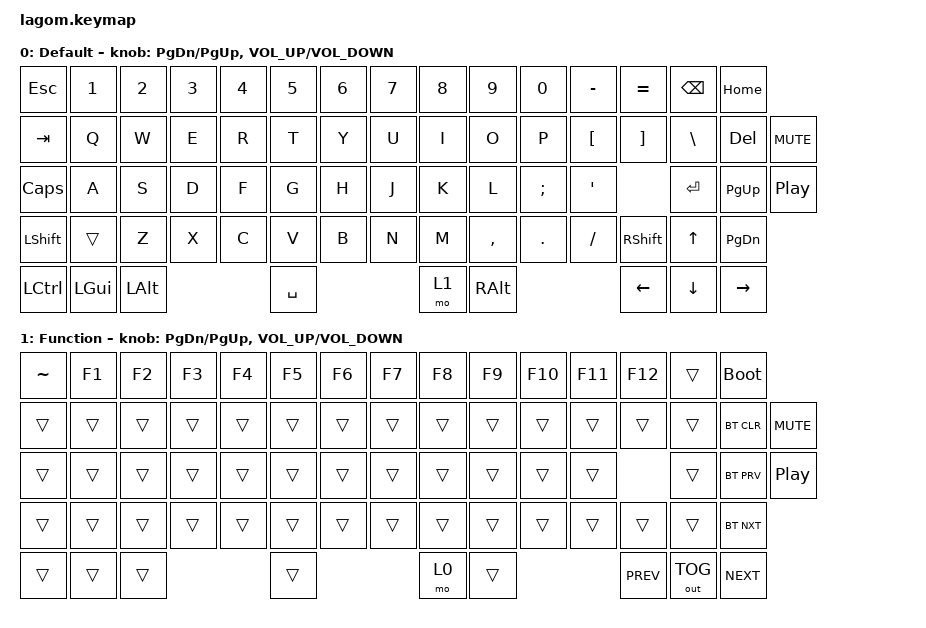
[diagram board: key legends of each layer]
/*
 * Copyright (c) 2020 The ZMK Contributors
 *
 * SPDX-License-Identifier: MIT
 */

#include <behaviors.dtsi>
#include <dt-bindings/zmk/keys.h>
#include <dt-bindings/zmk/bt.h>
#include <dt-bindings/zmk/outputs.h>
/ {
    sensors: sensors {
        compatible = "zmk,keymap-sensors";
        sensors = <&encoder_1 &encoder_2>;
        triggers-per-rotation = <20>;
    };

    keymap {
        compatible = "zmk,keymap";

        default_layer {
            display-name = "Default";

                sensor-bindings = <&inc_dec_kp PAGE_DOWN PAGE_UP &inc_dec_kp C_VOLUME_UP C_VOLUME_DOWN>;

            bindings = <
        &kp ESC   &kp N1    &kp N2    &kp N3    &kp N4    &kp N5    &kp N6    &kp N7    &kp N8  &kp N9    &kp N0    &kp MINUS &kp EQUAL &kp BSPC  &kp HOME
        &kp TAB   &kp Q     &kp W     &kp E     &kp R     &kp T     &kp Y     &kp U     &kp I   &kp O     &kp P     &kp LBKT  &kp RBKT  &kp BSLH  &kp DEL    &kp C_MUTE
        &kp CLCK  &kp A     &kp S     &kp D     &kp F     &kp G     &kp H     &kp J     &kp K   &kp L     &kp SEMI  &kp SQT             &kp RET   &kp PG_UP  &kp C_PP
        &kp LSHFT &trans    &kp Z     &kp X     &kp C     &kp V     &kp B     &kp N     &kp M   &kp COMMA &kp DOT   &kp FSLH  &kp RSHFT &kp UP    &kp PG_DN  
        &kp LCTRL &kp LGUI  &kp LALT                      &kp SPACE                     &mo 1   &kp RALT                      &kp LEFT  &kp DOWN  &kp RIGHT  
            >;
        };
        function_layer {
            display-name = "Function";

                sensor-bindings = <&inc_dec_kp PAGE_DOWN PAGE_UP &inc_dec_kp C_VOLUME_UP C_VOLUME_DOWN>;

            bindings = <
        &kp TILDE &kp F1    &kp F2    &kp F3    &kp F4    &kp F5    &kp F6    &kp F7    &kp F8   &kp F9    &kp F10   &kp F11 &kp F12    &trans   &bootloader
        &trans    &trans    &trans    &trans    &trans    &trans    &trans    &trans    &trans   &trans    &trans    &trans  &trans     &trans   &bt BT_CLR  &kp C_MUTE
        &trans    &trans    &trans    &trans    &trans    &trans    &trans    &trans    &trans   &trans    &trans    &trans             &trans   &bt BT_PRV  &kp C_PP
        &trans    &trans    &trans    &trans    &trans    &trans    &trans    &trans    &trans   &trans    &trans    &trans  &trans     &trans   &bt BT_NXT  
        &trans    &trans    &trans                        &trans                        &mo 0    &trans                      &kp C_PREV &out OUT_TOG &kp C_NEXT  
            >;
        };
    };
};
